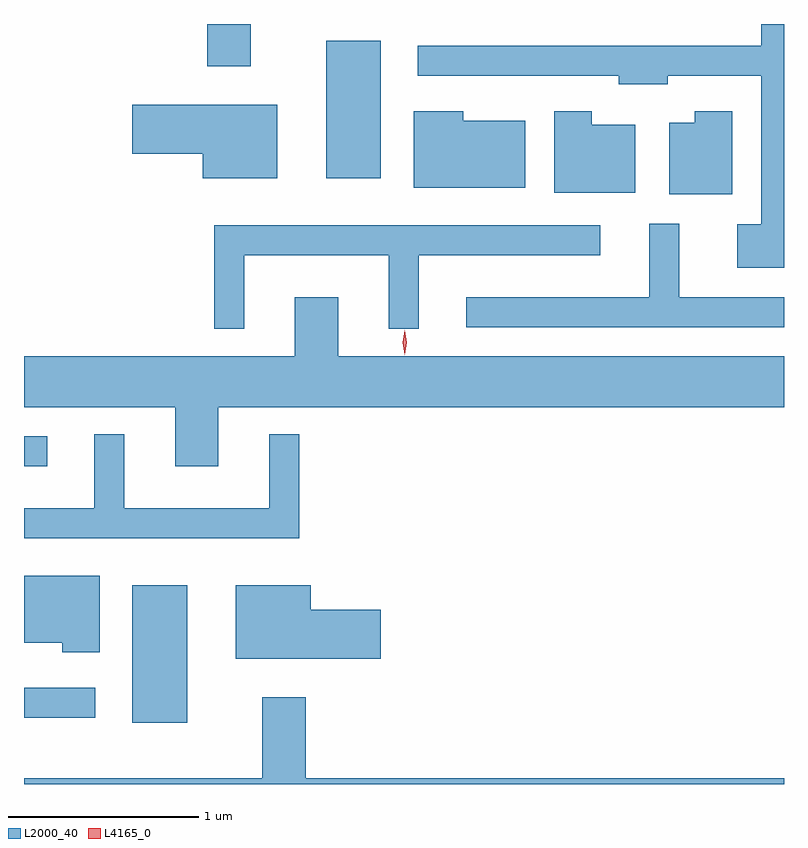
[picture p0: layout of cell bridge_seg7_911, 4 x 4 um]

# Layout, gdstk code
import gdstk
lib = gdstk.Library(unit=1e-6, precision=1e-09)
def R(c, l, rs):  # rectangles x0, y0, x1, y1
    for r in rs: c.add(gdstk.rectangle(r[:2], r[2:], *l))
def P(c, l, *ps):  # polygons
    for p in ps: c.add(gdstk.Polygon(p, *l))
L2000_40 = (2000, 40)
L4165_0 = (4165, 0)

bridge_seg7_911 = lib.new_cell('bridge_seg7_911')
R(bridge_seg7_911, L2000_40, [(520.916,1703.776,521.204,1704.499), (520.346,1703.801,520.722,1703.959), (520.346,1705.126,520.468,1705.284), (521.936,1706.641,522.224,1707.364), (521.311,1707.231,521.539,1707.453)])
P(bridge_seg7_911, L2000_40, [(524.346,1707.453),(524.226,1707.453),(524.226,1707.339),(522.418,1707.339),(522.418,1707.181),(523.476,1707.181),(523.476,1707.136),(523.734,1707.136),(523.734,1707.181),(524.226,1707.181),(524.226,1706.399),(524.101,1706.399),(524.101,1706.171),(524.346,1706.171)],
  [(521.679,1707.029),(520.916,1707.029),(520.916,1706.771),(521.286,1706.771),(521.286,1706.641),(521.679,1706.641)],
  [(524.074,1706.994),(523.876,1706.994),(523.876,1706.934),(523.741,1706.934),(523.741,1706.556),(524.074,1706.556)],
  [(522.984,1706.944),(522.659,1706.944),(522.659,1706.994),(522.396,1706.994),(522.396,1706.591),(522.984,1706.591)],
  [(523.564,1706.924),(523.334,1706.924),(523.334,1706.994),(523.136,1706.994),(523.136,1706.566),(523.564,1706.566)],
  [(524.346,1706.014),(523.794,1706.014),(523.794,1706.403),(523.636,1706.403),(523.636,1706.014),(522.673,1706.014),(522.673,1705.856),(524.346,1705.856)],
  [(521.504,1706.236),(522.266,1706.236),(522.266,1705.848),(522.424,1705.848),(522.424,1706.236),(523.378,1706.236),(523.378,1706.394),(521.346,1706.394),(521.346,1705.848),(521.504,1705.848)],
  [(521.369,1705.436),(524.346,1705.436),(524.346,1705.704),(521.999,1705.704),(521.999,1706.014),(521.771,1706.014),(521.771,1705.704),(520.346,1705.704),(520.346,1705.436),(521.141,1705.436),(521.141,1705.126),(521.369,1705.126)],
  [(521.794,1705.293),(521.636,1705.293),(521.636,1704.904),(520.874,1704.904),(520.874,1705.293),(520.716,1705.293),(520.716,1704.904),(520.346,1704.904),(520.346,1704.746),(521.794,1704.746)],
  [(520.744,1704.549),(520.346,1704.549),(520.346,1704.196),(520.546,1704.196),(520.546,1704.146),(520.744,1704.146)],
  [(522.224,1704.369),(521.854,1704.369),(521.854,1704.499),(521.461,1704.499),(521.461,1704.111),(522.224,1704.111)],
  [(524.346,1703.484),(521.829,1703.484),(521.829,1703.909),(521.601,1703.909),(521.601,1703.484),(520.346,1703.484),(520.346,1703.453),(524.346,1703.453)])
P(bridge_seg7_911, L4165_0, [(522.35,1705.713),(522.35,1705.713),(522.34,1705.778),(522.35,1705.842),(522.35,1705.842),(522.35,1705.842),(522.36,1705.778),(522.351,1705.713)])

lib.write_gds('bridge_seg7_911.gds')
